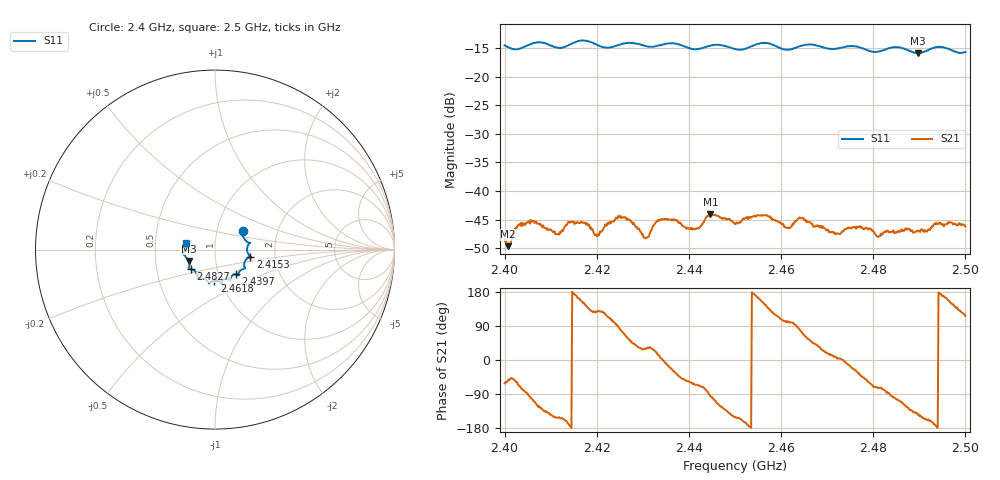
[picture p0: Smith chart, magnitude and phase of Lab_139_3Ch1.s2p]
# Hz S RI R 50
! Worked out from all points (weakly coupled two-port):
!   601 points, 2.4 GHz to 2.5 GHz, reference 50 ohm
!   highest |S21| = -44.02 dB at 2.4447 GHz (marker M1); lowest = -49.7 dB at 2.4007 GHz (marker M2)
!   lowest |S11| = -15.9 dB at 2.4897 GHz (marker M3), VSWR 1.38, Z = 36.9 - j4.84 ohm
!   |S11| at or under -10 dB: start of sweep to end of sweep
!   S12 and S22 are empty: the file has one direction only
!   S11 on the Smith chart (normalised r, x): 2.4 GHz: 1.33, +0.29; 2.4153 GHz: 1.48, -0.12; 2.4397 GHz: 1.21, -0.34; 2.4618 GHz: 0.94, -0.33; 2.4827 GHz: 0.75, -0.17; 2.5 GHz: 0.72, +0.06
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2.4e9  0.1549 0.1064  0.00181 -0.00333  0 0  0 0
2.400667e9  0.1547 0.0963  0.00189 -0.00268  0 0  0 0
2.403333e9  0.1671 0.0548  0.00177 -0.00469  0 0  0 0
2.4115e9  0.1788 0.00754  -0.00369 -0.00194  0 0  0 0
2.415333e9  0.1969 -0.0393  -0.00523 0.000772  0 0  0 0
2.416667e9  0.2027 -0.0434  -0.0049 0.00226  0 0  0 0
2.42e9  0.1849 -0.0459  -0.00246 0.0032  0 0  0 0
2.425667e9  0.1663 -0.1004  0.00169 0.00563  0 0  0 0
2.430667e9  0.1462 -0.1133  0.0033 0.00196  0 0  0 0
2.433333e9  0.1302 -0.134  0.00529 0.00127  0 0  0 0
2.439667e9  0.1168 -0.1363  0.00275 -0.00389  0 0  0 0
2.444667e9  0.0838 -0.1673  -0.000589 -0.00627  0 0  0 0
2.45e9  0.0651 -0.1618  -0.00446 -0.00251  0 0  0 0
2.4565e9  0.0389 -0.1936  -0.00509 0.00337  0 0  0 0
2.461833e9  -0.00329 -0.1727  -0.000854 0.00466  0 0  0 0
2.464333e9  -0.0301 -0.1836  0.0014 0.00559  0 0  0 0
2.466667e9  -0.0348 -0.1878  0.00345 0.00381  0 0  0 0
2.472333e9  -0.0738 -0.1605  0.00422 0.000353  0 0  0 0
2.482667e9  -0.1347 -0.1088  0.000625 -0.00439  0 0  0 0
2.483333e9  -0.1399 -0.1083  0.000202 -0.00435  0 0  0 0
2.489667e9  -0.1472 -0.0639  -0.00366 -0.0026  0 0  0 0
2.5e9  -0.1596 0.0387  -0.00215 0.00438  0 0  0 0
